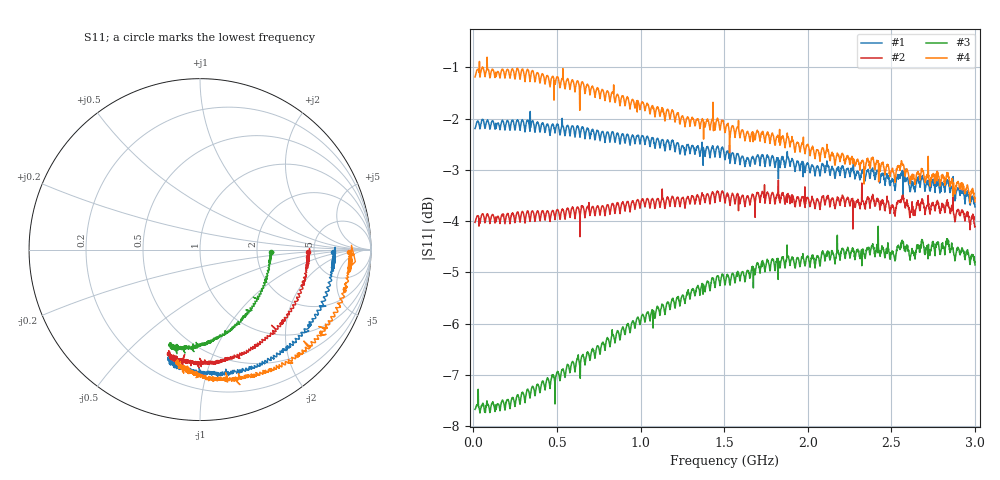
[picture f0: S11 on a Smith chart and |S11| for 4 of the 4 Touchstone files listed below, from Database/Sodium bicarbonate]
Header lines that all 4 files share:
# HZ S RI R 50
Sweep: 10 MHz to 3 GHz
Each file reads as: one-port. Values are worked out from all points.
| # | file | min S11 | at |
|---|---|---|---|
| 1 | NaHCO3-0.1g.s1p | -3.7 dB | 3 GHz |
| 2 | NaHCO3-0.2g.s1p | -4.3 dB | 637.9 MHz |
| 3 | NaHCO3-0.5g.s1p | -7.7 dB | 39.62 MHz |
| 4 | NaHCO3-0.05g.s1p | -3.6 dB | 2.97 GHz |
